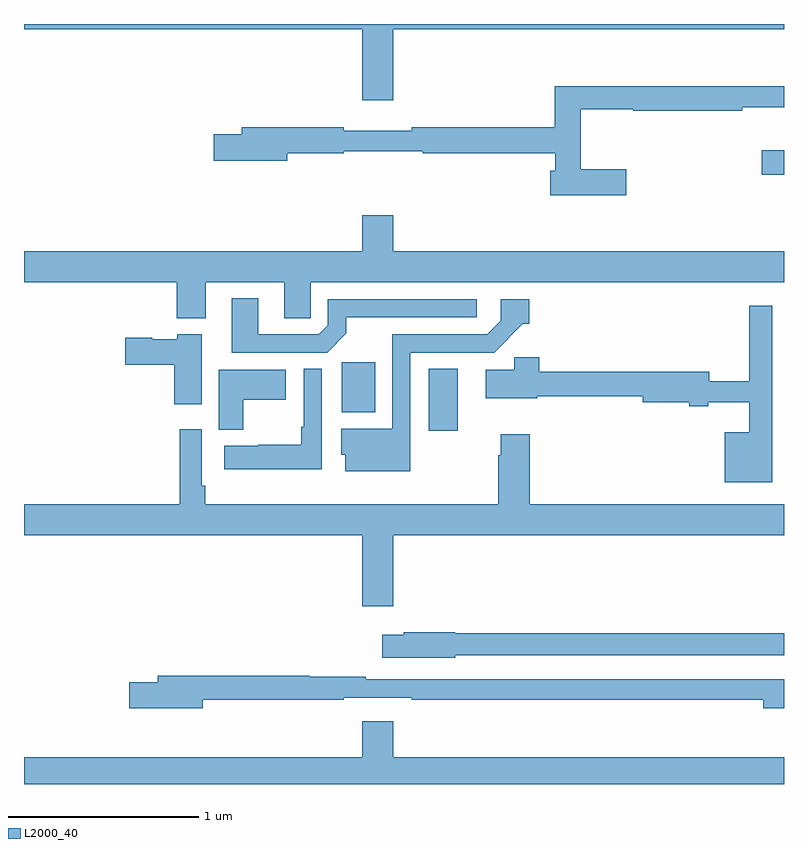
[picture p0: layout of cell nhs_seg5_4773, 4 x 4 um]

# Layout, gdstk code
import gdstk
lib = gdstk.Library(unit=1e-6, precision=1e-09)
def R(c, l, rs):  # rectangles x0, y0, x1, y1
    for r in rs: c.add(gdstk.rectangle(r[:2], r[2:], *l))
def P(c, l, *ps):  # polygons
    for p in ps: c.add(gdstk.Polygon(p, *l))
L2000_40 = (2000, 40)

nhs_seg5_4773 = lib.new_cell('nhs_seg5_4773')
R(nhs_seg5_4773, L2000_40, [(393.131,842.658,393.283,842.984), (392.672,842.756,392.848,843.02), (394.884,844.006,395,844.135)])
P(nhs_seg5_4773, L2000_40, [(395,844.799),(391,844.799),(391,844.772),(392.78,844.772),(392.78,844.398),(392.944,844.398),(392.944,844.772),(395,844.772)],
  [(394.171,844.035),(393.929,844.035),(393.929,844.35),(394.206,844.35),(394.206,844.342),(394.781,844.342),(394.781,844.36),(395,844.36),(395,844.471),(393.793,844.471),(393.793,844.256),(393.04,844.256),(393.04,844.237),(392.684,844.237),(392.684,844.256),(392.147,844.256),(392.147,844.22),(391.998,844.22),(391.998,844.078),(392.386,844.078),(392.386,844.12),(392.682,844.12),(392.682,844.128),(393.099,844.128),(393.099,844.12),(393.797,844.12),(393.797,844.027),(393.77,844.027),(393.77,843.898),(394.171,843.898)],
  [(392.508,843.44),(395,843.44),(395,843.604),(392.944,843.604),(392.944,843.793),(392.78,843.793),(392.78,843.604),(391,843.604),(391,843.44),(391.805,843.44),(391.805,843.251),(391.957,843.251),(391.957,843.44),(392.369,843.44),(392.369,843.25),(392.508,843.25)],
  [(392.697,843.171),(392.697,843.255),(393.382,843.255),(393.382,843.351),(392.598,843.351),(392.598,843.213),(392.55,843.165),(392.233,843.165),(392.233,843.355),(392.093,843.355),(392.093,843.069),(392.595,843.069)],
  [(393.033,843.069),(393.474,843.069),(393.626,843.221),(393.658,843.221),(393.658,843.351),(393.51,843.351),(393.51,843.237),(393.438,843.165),(392.937,843.165),(392.937,842.668),(392.669,842.668),(392.669,842.532),(392.69,842.532),(392.69,842.444),(393.033,842.444)],
  [(394.939,843.316),(394.818,843.316),(394.818,842.92),(394.606,842.92),(394.606,842.968),(393.713,842.968),(393.713,843.045),(393.579,843.045),(393.579,842.98),(393.429,842.98),(393.429,842.828),(393.7,842.828),(393.7,842.839),(394.256,842.839),(394.256,842.807),(394.502,842.807),(394.502,842.788),(394.602,842.788),(394.602,842.807),(394.818,842.807),(394.818,842.65),(394.688,842.65),(394.688,842.387),(394.939,842.387)],
  [(391.936,843.166),(391.806,843.166),(391.806,843.139),(391.676,843.139),(391.676,843.147),(391.533,843.147),(391.533,843.005),(391.79,843.005),(391.79,842.799),(391.936,842.799)],
  [(392.568,842.984),(392.472,842.984),(392.472,842.68),(392.46,842.68),(392.46,842.584),(392.232,842.584),(392.232,842.578),(392.055,842.578),(392.055,842.456),(392.568,842.456)],
  [(392.154,842.822),(392.377,842.822),(392.377,842.98),(392.024,842.98),(392.024,842.663),(392.154,842.663)],
  [(392.944,842.108),(395,842.108),(395,842.272),(393.662,842.272),(393.662,842.641),(393.509,842.641),(393.509,842.528),(393.497,842.528),(393.497,842.272),(391.955,842.272),(391.955,842.368),(391.935,842.368),(391.935,842.665),(391.819,842.665),(391.819,842.272),(391,842.272),(391,842.108),(392.78,842.108),(392.78,841.734),(392.944,841.734)],
  [(393.27,841.476),(395,841.476),(395,841.592),(393.27,841.592),(393.27,841.598),(392.998,841.598),(392.998,841.585),(392.886,841.585),(392.886,841.463),(393.27,841.463)],
  [(391.942,841.242),(392.684,841.242),(392.684,841.254),(393.04,841.254),(393.04,841.242),(394.892,841.242),(394.892,841.199),(395,841.199),(395,841.35),(392.798,841.35),(392.798,841.363),(392.503,841.363),(392.503,841.37),(391.703,841.37),(391.703,841.334),(391.554,841.334),(391.554,841.199),(391.942,841.199)],
  [(395,840.94),(392.944,840.94),(392.944,841.129),(392.78,841.129),(392.78,840.94),(391,840.94),(391,840.799),(395,840.799)])

lib.write_gds('nhs_seg5_4773.gds')
